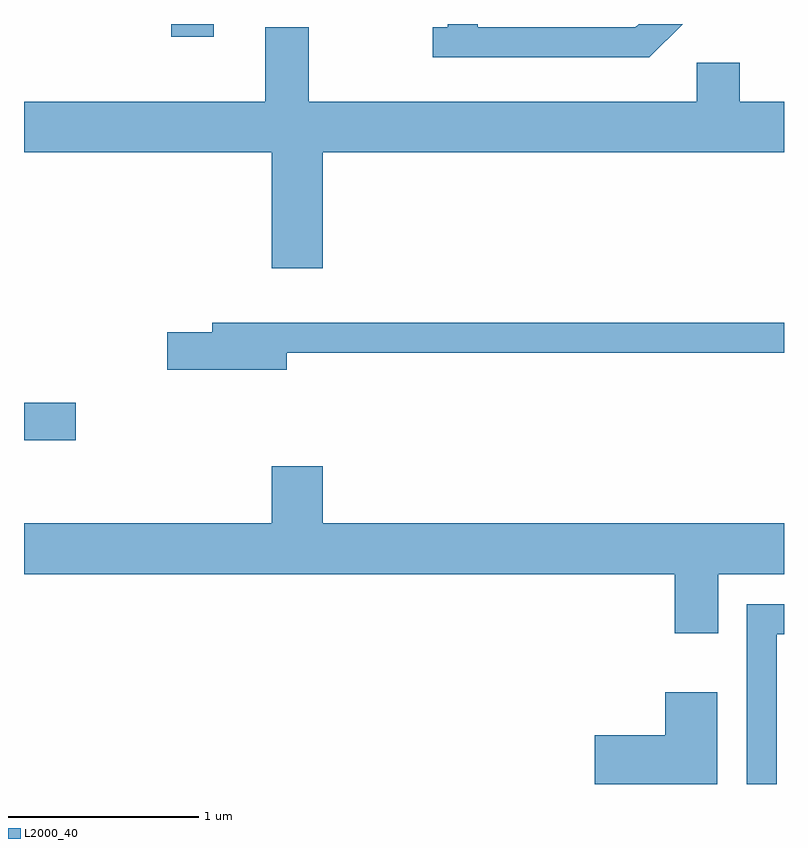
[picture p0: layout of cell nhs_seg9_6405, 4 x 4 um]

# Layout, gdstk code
import gdstk
lib = gdstk.Library(unit=1e-6, precision=1e-09)
def R(c, l, rs):  # rectangles x0, y0, x1, y1
    for r in rs: c.add(gdstk.rectangle(r[:2], r[2:], *l))
def P(c, l, *ps):  # polygons
    for p in ps: c.add(gdstk.Polygon(p, *l))
L2000_40 = (2000, 40)

nhs_seg9_6405 = lib.new_cell('nhs_seg9_6405')
R(nhs_seg9_6405, L2000_40, [(373.611,2050.241,373.884,2050.439), (374.386,2052.366,374.609,2052.432)])
P(nhs_seg9_6405, L2000_40, [(377.077,2052.432),(376.847,2052.432),(376.829,2052.414),(375.999,2052.414),(375.999,2052.432),(375.841,2052.432),(375.841,2052.414),(375.763,2052.414),(375.763,2052.256),(376.902,2052.256)],
  [(375.184,2051.756),(377.611,2051.756),(377.611,2052.024),(377.379,2052.024),(377.379,2052.229),(377.151,2052.229),(377.151,2052.024),(375.109,2052.024),(375.109,2052.414),(374.881,2052.414),(374.881,2052.024),(373.611,2052.024),(373.611,2051.756),(374.916,2051.756),(374.916,2051.146),(375.184,2051.146)],
  [(374.994,2050.701),(377.611,2050.701),(377.611,2050.859),(374.601,2050.859),(374.601,2050.809),(374.366,2050.809),(374.366,2050.611),(374.994,2050.611)],
  [(377.264,2049.536),(377.611,2049.536),(377.611,2049.804),(375.184,2049.804),(375.184,2050.104),(374.916,2050.104),(374.916,2049.804),(373.611,2049.804),(373.611,2049.536),(377.036,2049.536),(377.036,2049.226),(377.264,2049.226)],
  [(377.574,2049.221),(377.611,2049.221),(377.611,2049.379),(377.416,2049.379),(377.416,2048.432),(377.574,2048.432)],
  [(377.259,2048.914),(376.986,2048.914),(376.986,2048.689),(376.616,2048.689),(376.616,2048.432),(377.259,2048.432)])

lib.write_gds('nhs_seg9_6405.gds')
